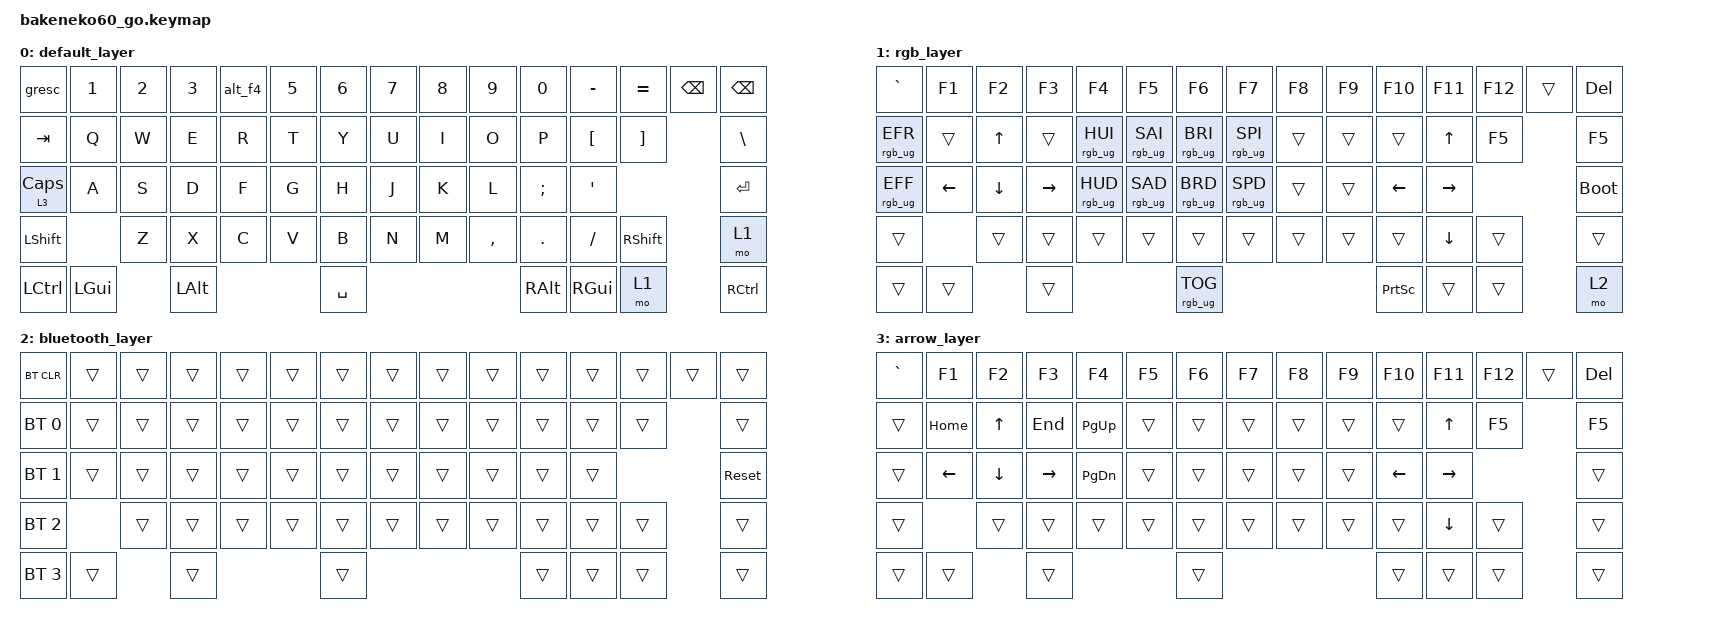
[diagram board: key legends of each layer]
/*
 * Copyright (c) 2023 Andrew Kannan
 *
 * SPDX-License-Identifier: MIT
 */

#include <behaviors.dtsi>
#include <dt-bindings/zmk/bt.h>
#include <dt-bindings/zmk/keys.h>
#include <dt-bindings/zmk/rgb.h>

&gresc {
    keep-mods = <(MOD_LSFT|MOD_RSFT)>;
    mods = <(MOD_LSFT|MOD_RSFT)>;
};

/ {
    behaviors {
        alt_f4: alt_f4 {
            compatible = "zmk,behavior-mod-morph";
            label = "ALT_F4";
            bindings = <&kp NUMBER_4>, <&kp F4>;

            #binding-cells = <0>;
            mods = <(MOD_LALT)>;
            keep-mods = <(MOD_LALT)>;
        };
    };

    keymap {
        compatible = "zmk,keymap";

        default_layer {
            // ------------------------------------------------------------------------------------------
            // | ESC |  1  |  2  |  3  |  4  |  5  |  6  |  7  |  8  |  9  |  0  |  -  |  =  | BKSP|BKSP|
            // | TAB  |  Q  |  W  |  E  |  R  |  T  |  Y  |  U  |  I  |  O  |  P  |  [  |  ]  |   "|"   |
            // | CAPS  |  A  |  S  |  D  |  F  |  G  |  H  |  J  |  K  |  L  |  ;  |  '  |     ENTER    |
            // |  SHIFT  |  Z  |  X  |  C  |  V  |  B  |  N  |  M  |  ,  |  .  |  /  |  SHIFT  | MO(1)  |
            // |  CTL  |  WIN  |  ALT  |            SPACE              |  ALT  |  WIN  |  MO(1) |  CTL  |
            // ------------------------------------------------------------------------------------------

            bindings = <
&gresc      &kp N1    &kp N2  &kp N3    &alt_f4  &kp N5  &kp N6     &kp N7  &kp N8  &kp N9     &kp N0    &kp MINUS  &kp EQUAL  &kp BSPC  &kp BSPC
&kp TAB     &kp Q     &kp W   &kp E     &kp R    &kp T   &kp Y      &kp U   &kp I   &kp O      &kp P     &kp LBKT   &kp RBKT             &kp BSLH
&lt 3 CLCK  &kp A     &kp S   &kp D     &kp F    &kp G   &kp H      &kp J   &kp K   &kp L      &kp SEMI  &kp SQT                         &kp RET
&kp LSHFT             &kp Z   &kp X     &kp C    &kp V   &kp B      &kp N   &kp M   &kp COMMA  &kp DOT   &kp FSLH   &kp RSHFT            &mo 1
&kp LCTRL   &kp LGUI          &kp LALT                   &kp SPACE                             &kp RALT  &kp RGUI   &mo 1                &kp RCTRL
            >;
        };

        rgb_layer {
            // ------------------------------------------------------------------------------------------------
            // |    `   | F1  | F2  | F3  | F4  | F5  | F6  | F7  | F8  | F9  | F10  | F11 | F12 |     | DEL  |
            // | EFCT REV|   |  UP |   | HUEUP | SATUP | BRIUP | SPDUP |      |  PGUP |    |     |    |       |
            // | EFCT FWD | LT |  DN  | RT | HUEDN | SATDN | BRIDN | SPDDN | HOME | PGDN | END  |  | BOOTLDR  |
            // |             |     |      |      |     |     |     |     |     |     |     |         |        |
            // |         |      |      |             TOG RGB                | PRT SCR |       |       |  MO(2)|
            // ------------------------------------------------------------------------------------------------

            bindings = <
&kp GRAVE        &kp F1    &kp F2    &kp F3     &kp F4           &kp F5           &kp F6           &kp F7           &kp F8  &kp F9  &kp F10    &kp F11       &kp F12  &trans  &kp DEL
&rgb_ug RGB_EFR  &trans    &kp UP    &trans     &rgb_ug RGB_HUI  &rgb_ug RGB_SAI  &rgb_ug RGB_BRI  &rgb_ug RGB_SPI  &trans  &trans  &trans     &kp UP_ARROW  &kp F5           &kp F5
&rgb_ug RGB_EFF  &kp LEFT  &kp DOWN  &kp RIGHT  &rgb_ug RGB_HUD  &rgb_ug RGB_SAD  &rgb_ug RGB_BRD  &rgb_ug RGB_SPD  &trans  &trans  &kp LEFT   &kp RIGHT                      &bootloader
&trans                     &trans    &trans     &trans           &trans           &trans           &trans           &trans  &trans  &trans     &kp DOWN      &trans           &trans
&trans           &trans              &trans                                       &rgb_ug RGB_TOG                                   &kp PSCRN  &trans        &trans           &mo 2
            >;
        };

        bluetooth_layer {
            // ------------------------------------------------------------------------------------------------
            // | BT CLR |     |     |     |     |     |     |     |     |     |     |    |    |       |       |
            // |  BT 1   |   |     |   |       |       |       |       |   |     |    |     |     |           |
            // |   BT 2   |    |      |    |       |       |       |       |      |      |      |  |   Reset  |
            // |    BT 3     |     |      |      |     |     |     |     |     |     |     |         |        |
            // |   BT 4  |      |      |                                    |         |       |       |       |
            // ------------------------------------------------------------------------------------------------

            bindings = <
&bt BT_CLR    &trans  &trans  &trans  &trans  &trans  &trans  &trans  &trans  &trans  &trans  &trans  &trans  &trans  &trans
&bt BT_SEL 0  &trans  &trans  &trans  &trans  &trans  &trans  &trans  &trans  &trans  &trans  &trans  &trans          &trans
&bt BT_SEL 1  &trans  &trans  &trans  &trans  &trans  &trans  &trans  &trans  &trans  &trans  &trans                  &sys_reset
&bt BT_SEL 2          &trans  &trans  &trans  &trans  &trans  &trans  &trans  &trans  &trans  &trans  &trans          &trans
&bt BT_SEL 3  &trans          &trans                  &trans                          &trans  &trans  &trans          &trans
            >;
        };

        arrow_layer {
            bindings = <
&kp GRAVE  &kp F1    &kp F2    &kp F3     &kp F4         &kp F5  &kp F6  &kp F7  &kp F8  &kp F9  &kp F10   &kp F11       &kp F12  &trans  &kp DEL
&trans     &kp HOME  &kp UP    &kp END    &kp PAGE_UP    &trans  &trans  &trans  &trans  &trans  &trans    &kp UP_ARROW  &kp F5           &kp F5
&trans     &kp LEFT  &kp DOWN  &kp RIGHT  &kp PAGE_DOWN  &trans  &trans  &trans  &trans  &trans  &kp LEFT  &kp RIGHT                      &trans
&trans               &trans    &trans     &trans         &trans  &trans  &trans  &trans  &trans  &trans    &kp DOWN      &trans           &trans
&trans     &trans              &trans                            &trans                          &trans    &trans        &trans           &trans
            >;
        };
    };

    combos {
        compatible = "zmk,combos";

        combo_bt {
            timeout-ms = <50>;
            key-positions = <61 62>;
            bindings = <&mo 2>;
        };
    };
};
